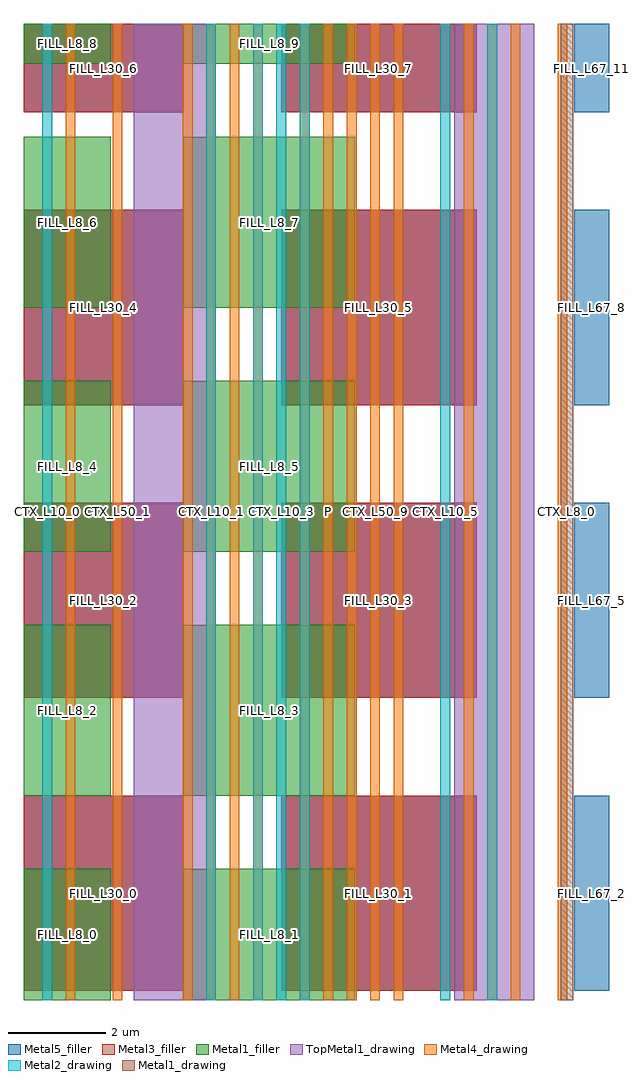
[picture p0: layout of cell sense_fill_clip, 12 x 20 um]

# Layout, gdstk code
import gdstk
lib = gdstk.Library(unit=1e-6, precision=1e-09)
def R(c, l, rs):  # rectangles x0, y0, x1, y1
    for r in rs: c.add(gdstk.rectangle(r[:2], r[2:], *l))
def A(c, l, x, y, w, h, nx, ny, dx, dy):  # array of equal rectangles
    R(c, l, [(x+i*dx, y+j*dy, x+i*dx+w, y+j*dy+h) for i in range(nx) for j in range(ny)])
Metal1_drawing = (8, 0)
Metal1_filler = (8, 22)
Metal2_drawing = (10, 0)
Metal3_filler = (30, 22)
Metal4_drawing = (50, 0)
Metal5_filler = (67, 22)
TopMetal1_drawing = (126, 0)

sense_fill_clip = lib.new_cell('sense_fill_clip')
R(sense_fill_clip, Metal1_drawing, [(737.72,695.81,737.98,715.81)])
A(sense_fill_clip, Metal1_filler, 726.72, 700, 1.78, 3.5, 1, 3, 0, 5)
A(sense_fill_clip, Metal1_filler, 730, 700, 3.5, 3.5, 1, 3, 0, 5)
R(sense_fill_clip, Metal1_filler, [(726.72,695.81,728.5,698.5), (730,695.81,733.5,698.5), (726.72,715,728.5,715.81), (730,715,733.5,715.81)])
A(sense_fill_clip, Metal2_drawing, 731.42, 695.81, 0.2, 20, 3, 1, 0.48, 0)
R(sense_fill_clip, Metal2_drawing, [(727.1,695.81,727.3,715.81), (730.46,695.81,730.66,715.81), (735.26,695.81,735.46,715.81), (736.22,695.81,736.42,715.81)])
A(sense_fill_clip, Metal3_filler, 726.72, 696, 3.28, 4, 1, 3, 0, 6)
A(sense_fill_clip, Metal3_filler, 732, 696, 4, 4, 1, 3, 0, 6)
R(sense_fill_clip, Metal3_filler, [(726.72,714,730,715.81), (732,714,736,715.81)])
A(sense_fill_clip, Metal4_drawing, 729.98, 695.81, 0.2, 20, 4, 1, 0.48, 0)
A(sense_fill_clip, Metal4_drawing, 732.38, 695.81, 0.2, 20, 5, 1, 0.48, 0)
A(sense_fill_clip, Metal4_drawing, 735.74, 695.81, 0.2, 20, 3, 1, 0.48, 0)
R(sense_fill_clip, Metal4_drawing, [(727.58,695.81,727.78,715.81), (728.54,695.81,728.74,715.81), (737.66,695.81,737.86,715.81)])
A(sense_fill_clip, Metal5_filler, 726.72, 696, 3.28, 4, 1, 3, 0, 6)
A(sense_fill_clip, Metal5_filler, 732, 696, 4, 4, 1, 3, 0, 6)
A(sense_fill_clip, Metal5_filler, 738, 696, 0.72, 4, 1, 3, 0, 6)
R(sense_fill_clip, Metal5_filler, [(726.72,714,730,715.81), (732,714,736,715.81), (738,714,738.72,715.81)])
R(sense_fill_clip, TopMetal1_drawing, [(728.98,695.81,730.62,715.81), (735.54,695.81,737.18,715.81)])
sense_fill_clip.add(gdstk.Label('CTX_L8_0', (737.85,705.81), layer=8, texttype=25))
sense_fill_clip.add(gdstk.Label('FILL_L8_0', (727.61,697.155), layer=8, texttype=25))
sense_fill_clip.add(gdstk.Label('FILL_L8_1', (731.75,697.155), layer=8, texttype=25))
sense_fill_clip.add(gdstk.Label('FILL_L8_2', (727.61,701.75), layer=8, texttype=25))
sense_fill_clip.add(gdstk.Label('FILL_L8_3', (731.75,701.75), layer=8, texttype=25))
sense_fill_clip.add(gdstk.Label('FILL_L8_4', (727.61,706.75), layer=8, texttype=25))
sense_fill_clip.add(gdstk.Label('FILL_L8_5', (731.75,706.75), layer=8, texttype=25))
sense_fill_clip.add(gdstk.Label('FILL_L8_6', (727.61,711.75), layer=8, texttype=25))
sense_fill_clip.add(gdstk.Label('FILL_L8_7', (731.75,711.75), layer=8, texttype=25))
sense_fill_clip.add(gdstk.Label('FILL_L8_8', (727.61,715.405), layer=8, texttype=25))
sense_fill_clip.add(gdstk.Label('FILL_L8_9', (731.75,715.405), layer=8, texttype=25))
sense_fill_clip.add(gdstk.Label('CTX_L10_0', (727.2,705.81), layer=10, texttype=25))
sense_fill_clip.add(gdstk.Label('CTX_L10_1', (730.56,705.81), layer=10, texttype=25))
sense_fill_clip.add(gdstk.Label('CTX_L10_2', (731.52,705.81), layer=10, texttype=25))
sense_fill_clip.add(gdstk.Label('CTX_L10_3', (732,705.81), layer=10, texttype=25))
sense_fill_clip.add(gdstk.Label('CTX_L10_4', (732.48,705.81), layer=10, texttype=25))
sense_fill_clip.add(gdstk.Label('CTX_L10_5', (735.36,705.81), layer=10, texttype=25))
sense_fill_clip.add(gdstk.Label('CTX_L10_6', (736.32,705.81), layer=10, texttype=25))
sense_fill_clip.add(gdstk.Label('FILL_L30_0', (728.36,698), layer=30, texttype=25))
sense_fill_clip.add(gdstk.Label('FILL_L30_1', (734,698), layer=30, texttype=25))
sense_fill_clip.add(gdstk.Label('FILL_L30_2', (728.36,704), layer=30, texttype=25))
sense_fill_clip.add(gdstk.Label('FILL_L30_3', (734,704), layer=30, texttype=25))
sense_fill_clip.add(gdstk.Label('FILL_L30_4', (728.36,710), layer=30, texttype=25))
sense_fill_clip.add(gdstk.Label('FILL_L30_5', (734,710), layer=30, texttype=25))
sense_fill_clip.add(gdstk.Label('FILL_L30_6', (728.36,714.905), layer=30, texttype=25))
sense_fill_clip.add(gdstk.Label('FILL_L30_7', (734,714.905), layer=30, texttype=25))
sense_fill_clip.add(gdstk.Label('CTX_L50_0', (727.68,705.81), layer=50, texttype=25))
sense_fill_clip.add(gdstk.Label('CTX_L50_1', (728.64,705.81), layer=50, texttype=25))
sense_fill_clip.add(gdstk.Label('CTX_L50_2', (730.08,705.81), layer=50, texttype=25))
sense_fill_clip.add(gdstk.Label('CTX_L50_3', (730.56,705.81), layer=50, texttype=25))
sense_fill_clip.add(gdstk.Label('CTX_L50_4', (731.04,705.81), layer=50, texttype=25))
sense_fill_clip.add(gdstk.Label('CTX_L50_5', (731.52,705.81), layer=50, texttype=25))
sense_fill_clip.add(gdstk.Label('N', (732.48,705.81), layer=50, texttype=25))
sense_fill_clip.add(gdstk.Label('P', (732.96,705.81), layer=50, texttype=25))
sense_fill_clip.add(gdstk.Label('CTX_L50_8', (733.44,705.81), layer=50, texttype=25))
sense_fill_clip.add(gdstk.Label('CTX_L50_9', (733.92,705.81), layer=50, texttype=25))
sense_fill_clip.add(gdstk.Label('CTX_L50_10', (734.4,705.81), layer=50, texttype=25))
sense_fill_clip.add(gdstk.Label('CTX_L50_11', (735.84,705.81), layer=50, texttype=25))
sense_fill_clip.add(gdstk.Label('CTX_L50_12', (736.32,705.81), layer=50, texttype=25))
sense_fill_clip.add(gdstk.Label('CTX_L50_13', (736.8,705.81), layer=50, texttype=25))
sense_fill_clip.add(gdstk.Label('CTX_L50_14', (737.76,705.81), layer=50, texttype=25))
sense_fill_clip.add(gdstk.Label('FILL_L67_0', (728.36,698), layer=67, texttype=25))
sense_fill_clip.add(gdstk.Label('FILL_L67_1', (734,698), layer=67, texttype=25))
sense_fill_clip.add(gdstk.Label('FILL_L67_2', (738.36,698), layer=67, texttype=25))
sense_fill_clip.add(gdstk.Label('FILL_L67_3', (728.36,704), layer=67, texttype=25))
sense_fill_clip.add(gdstk.Label('FILL_L67_4', (734,704), layer=67, texttype=25))
sense_fill_clip.add(gdstk.Label('FILL_L67_5', (738.36,704), layer=67, texttype=25))
sense_fill_clip.add(gdstk.Label('FILL_L67_6', (728.36,710), layer=67, texttype=25))
sense_fill_clip.add(gdstk.Label('FILL_L67_7', (734,710), layer=67, texttype=25))
sense_fill_clip.add(gdstk.Label('FILL_L67_8', (738.36,710), layer=67, texttype=25))
sense_fill_clip.add(gdstk.Label('FILL_L67_9', (728.36,714.905), layer=67, texttype=25))
sense_fill_clip.add(gdstk.Label('FILL_L67_10', (734,714.905), layer=67, texttype=25))
sense_fill_clip.add(gdstk.Label('FILL_L67_11', (738.36,714.905), layer=67, texttype=25))
sense_fill_clip.add(gdstk.Label('CTX_L126_0', (729.8,705.81), layer=126, texttype=25))
sense_fill_clip.add(gdstk.Label('CTX_L126_1', (736.36,705.81), layer=126, texttype=25))

lib.write_gds('sense_fill_clip.gds')
